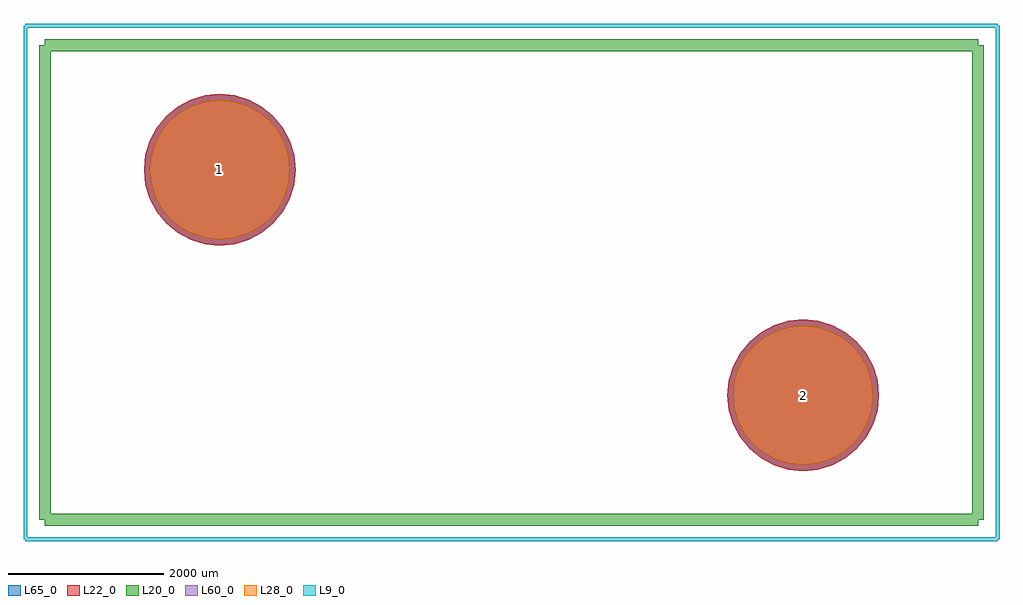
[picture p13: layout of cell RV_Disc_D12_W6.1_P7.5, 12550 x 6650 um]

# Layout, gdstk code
import gdstk
lib = gdstk.Library(unit=1e-6, precision=1e-09)
def P(c, l, *ps):  # polygons
    for p in ps: c.add(gdstk.Polygon(p, *l))
L9_0 = (9, 0)
L20_0 = (20, 0)
L22_0 = (22, 0)
L28_0 = (28, 0)
L60_0 = (60, 0)
L65_0 = (65, 0)

rv_disc_d12_w6_1_p7_5 = lib.new_cell('RV_Disc_D12_W6.1_P7.5')
P(rv_disc_d12_w6_1_p7_5, L22_0, [(8475,-2900),(8456.266,-2709.787),(8400.783,-2526.884),(8310.683,-2358.319),(8189.429,-2210.571),(8041.681,-2089.317),(7873.116,-1999.217),(7690.213,-1943.734),(7500,-1925),(7309.787,-1943.734),(7126.884,-1999.217),(6958.319,-2089.317),(6810.571,-2210.571),(6689.317,-2358.319),(6599.217,-2526.884),(6543.734,-2709.787),(6525,-2900),(6543.734,-3090.213),(6599.217,-3273.116),(6689.317,-3441.681),(6810.571,-3589.429),(6958.319,-3710.683),(7126.884,-3800.783),(7309.787,-3856.266),(7500,-3875),(7690.213,-3856.266),(7873.116,-3800.783),(8041.681,-3710.683),(8189.429,-3589.429),(8310.683,-3441.681),(8400.783,-3273.116),(8456.266,-3090.213)],
  [(975,0),(956.266,190.213),(900.783,373.116),(810.683,541.681),(689.429,689.429),(541.681,810.683),(373.116,900.783),(190.213,956.266),(0,975),(-190.213,956.266),(-373.116,900.783),(-541.681,810.683),(-689.429,689.429),(-810.683,541.681),(-900.783,373.116),(-956.266,190.213),(-975,0),(-956.266,-190.213),(-900.783,-373.116),(-810.683,-541.681),(-689.429,-689.429),(-541.681,-810.683),(-373.116,-900.783),(-190.213,-956.266),(0,-975),(190.213,-956.266),(373.116,-900.783),(541.681,-810.683),(689.429,-689.429),(810.683,-541.681),(900.783,-373.116),(956.266,-190.213)])
P(rv_disc_d12_w6_1_p7_5, L28_0, [(8400,-2900),(8382.707,-2724.419),(8331.492,-2555.585),(8248.323,-2399.987),(8136.396,-2263.604),(8000.013,-2151.677),(7844.415,-2068.508),(7675.581,-2017.293),(7500,-2000),(7324.419,-2017.293),(7155.585,-2068.508),(6999.987,-2151.677),(6863.604,-2263.604),(6751.677,-2399.987),(6668.508,-2555.585),(6617.293,-2724.419),(6600,-2900),(6617.293,-3075.581),(6668.508,-3244.415),(6751.677,-3400.013),(6863.604,-3536.396),(6999.987,-3648.323),(7155.585,-3731.492),(7324.419,-3782.707),(7500,-3800),(7675.581,-3782.707),(7844.415,-3731.492),(8000.013,-3648.323),(8136.396,-3536.396),(8248.323,-3400.013),(8331.492,-3244.415),(8382.707,-3075.581)],
  [(900,0),(882.707,175.581),(831.492,344.415),(748.323,500.013),(636.396,636.396),(500.013,748.323),(344.415,831.492),(175.581,882.707),(0,900),(-175.581,882.707),(-344.415,831.492),(-500.013,748.323),(-636.396,636.396),(-748.323,500.013),(-831.492,344.415),(-882.707,175.581),(-900,0),(-882.707,-175.581),(-831.492,-344.415),(-748.323,-500.013),(-636.396,-636.396),(-500.013,-748.323),(-344.415,-831.492),(-175.581,-882.707),(0,-900),(175.581,-882.707),(344.415,-831.492),(500.013,-748.323),(636.396,-636.396),(748.323,-500.013),(831.492,-344.415),(882.707,-175.581)])
P(rv_disc_d12_w6_1_p7_5, L60_0, [(8400,-2900),(8382.707,-2724.419),(8331.492,-2555.585),(8248.323,-2399.987),(8136.396,-2263.604),(8000.013,-2151.677),(7844.415,-2068.508),(7675.581,-2017.293),(7500,-2000),(7324.419,-2017.293),(7155.585,-2068.508),(6999.987,-2151.677),(6863.604,-2263.604),(6751.677,-2399.987),(6668.508,-2555.585),(6617.293,-2724.419),(6600,-2900),(6617.293,-3075.581),(6668.508,-3244.415),(6751.677,-3400.013),(6863.604,-3536.396),(6999.987,-3648.323),(7155.585,-3731.492),(7324.419,-3782.707),(7500,-3800),(7675.581,-3782.707),(7844.415,-3731.492),(8000.013,-3648.323),(8136.396,-3536.396),(8248.323,-3400.013),(8331.492,-3244.415),(8382.707,-3075.581)],
  [(900,0),(882.707,175.581),(831.492,344.415),(748.323,500.013),(636.396,636.396),(500.013,748.323),(344.415,831.492),(175.581,882.707),(0,900),(-175.581,882.707),(-344.415,831.492),(-500.013,748.323),(-636.396,636.396),(-748.323,500.013),(-831.492,344.415),(-882.707,175.581),(-900,0),(-882.707,-175.581),(-831.492,-344.415),(-748.323,-500.013),(-636.396,-636.396),(-500.013,-748.323),(-344.415,-831.492),(-175.581,-882.707),(0,-900),(175.581,-882.707),(344.415,-831.492),(500.013,-748.323),(636.396,-636.396),(748.323,-500.013),(831.492,-344.415),(882.707,-175.581)])
P(rv_disc_d12_w6_1_p7_5, L65_0, [(8475,-2900),(8456.266,-2709.787),(8400.783,-2526.884),(8310.683,-2358.319),(8189.429,-2210.571),(8041.681,-2089.317),(7873.116,-1999.217),(7690.213,-1943.734),(7500,-1925),(7309.787,-1943.734),(7126.884,-1999.217),(6958.319,-2089.317),(6810.571,-2210.571),(6689.317,-2358.319),(6599.217,-2526.884),(6543.734,-2709.787),(6525,-2900),(6543.734,-3090.213),(6599.217,-3273.116),(6689.317,-3441.681),(6810.571,-3589.429),(6958.319,-3710.683),(7126.884,-3800.783),(7309.787,-3856.266),(7500,-3875),(7690.213,-3856.266),(7873.116,-3800.783),(8041.681,-3710.683),(8189.429,-3589.429),(8310.683,-3441.681),(8400.783,-3273.116),(8456.266,-3090.213)],
  [(975,0),(956.266,190.213),(900.783,373.116),(810.683,541.681),(689.429,689.429),(541.681,810.683),(373.116,900.783),(190.213,956.266),(0,975),(-190.213,956.266),(-373.116,900.783),(-541.681,810.683),(-689.429,689.429),(-810.683,541.681),(-900.783,373.116),(-956.266,190.213),(-975,0),(-956.266,-190.213),(-900.783,-373.116),(-810.683,-541.681),(-689.429,-689.429),(-541.681,-810.683),(-373.116,-900.783),(-190.213,-956.266),(0,-975),(190.213,-956.266),(373.116,-900.783),(541.681,-810.683),(689.429,-689.429),(810.683,-541.681),(900.783,-373.116),(956.266,-190.213)])
rv_disc_d12_w6_1_p7_5.add(gdstk.FlexPath([(-2250,1600),(-2250,-4500)], 149.998, ends="flush", simple_path=True, layer=20, datatype=0))  # L20_0
rv_disc_d12_w6_1_p7_5.add(gdstk.FlexPath([(9750,1600),(9750,-4500)], 149.998, ends="flush", simple_path=True, layer=20, datatype=0))  # L20_0
rv_disc_d12_w6_1_p7_5.add(gdstk.FlexPath([(-2250,1600),(9750,1600)], 149.998, ends="flush", simple_path=True, layer=20, datatype=0))  # L20_0
rv_disc_d12_w6_1_p7_5.add(gdstk.FlexPath([(-2250,-4500),(9750,-4500)], 149.998, ends="flush", simple_path=True, layer=20, datatype=0))  # L20_0
rv_disc_d12_w6_1_p7_5.add(gdstk.FlexPath([(-2500,1850),(-2500,-4750)], 50, ends="flush", simple_path=True, layer=9, datatype=0))  # L9_0
rv_disc_d12_w6_1_p7_5.add(gdstk.FlexPath([(10000,1850),(10000,-4750)], 50, ends="flush", simple_path=True, layer=9, datatype=0))  # L9_0
rv_disc_d12_w6_1_p7_5.add(gdstk.FlexPath([(-2500,1850),(10000,1850)], 50, ends="flush", simple_path=True, layer=9, datatype=0))  # L9_0
rv_disc_d12_w6_1_p7_5.add(gdstk.FlexPath([(-2500,-4750),(10000,-4750)], 50, ends="flush", simple_path=True, layer=9, datatype=0))  # L9_0
rv_disc_d12_w6_1_p7_5.add(gdstk.Label('2', (7500,-2900), layer=28, texttype=0))
rv_disc_d12_w6_1_p7_5.add(gdstk.Label('1', (0,0), layer=28, texttype=0))
rv_disc_d12_w6_1_p7_5.add(gdstk.Label('type', (3750,2600), layer=9, texttype=0))
rv_disc_d12_w6_1_p7_5.add(gdstk.Label('devicename', (3750,-5500), layer=9, texttype=0))

lib.write_gds('RV_Disc_D12_W6.1_P7.5.gds')
